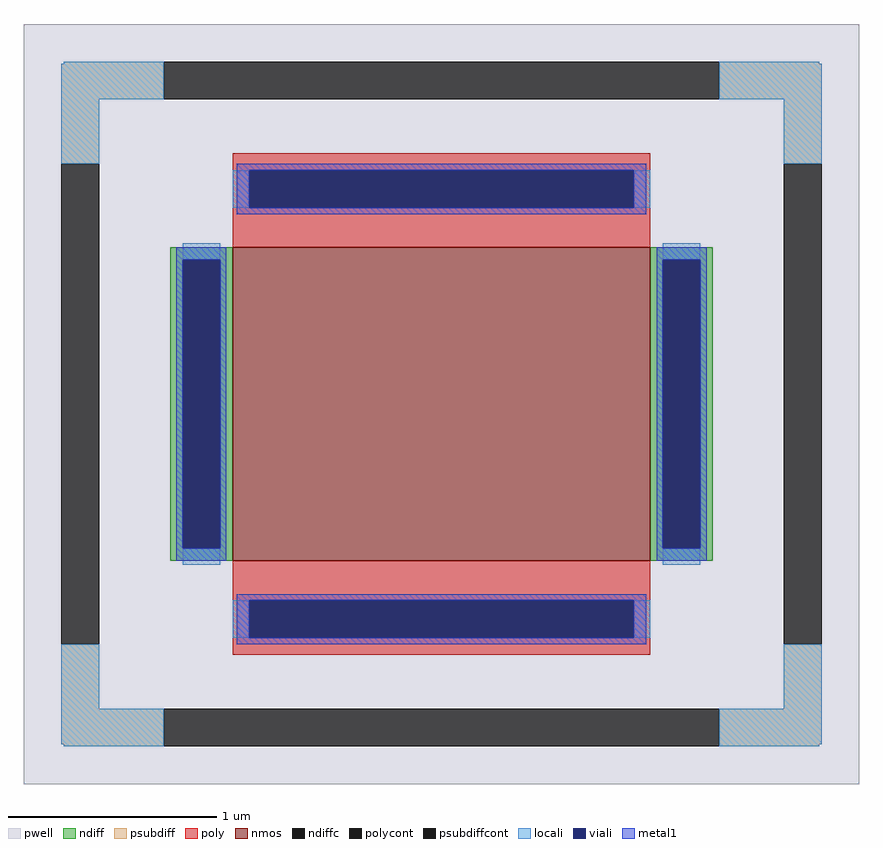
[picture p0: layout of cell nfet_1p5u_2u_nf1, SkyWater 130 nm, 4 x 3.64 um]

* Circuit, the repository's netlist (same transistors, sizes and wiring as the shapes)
* NGSPICE file created from nfet_1p5u_2u_nf1.ext - technology: sky130A

.subckt nfet_1p5u_2u_nf1
X0 a_100_n75# a_n100_n120# a_n130_n75# a_n182_n163# sky130_fd_pr__nfet_01v8 ad=0.45 pd=3.6 as=0.45 ps=3.6 w=1.5 l=2
.ends

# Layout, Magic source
magic
tech sky130A
<< pwell >>
rect -200 -182 200 182
<< nmos >>
rect -100 -75 100 75
<< ndiff >>
rect -130 69 -100 75
rect -130 -69 -124 69
rect -106 -69 -100 69
rect -130 -75 -100 -69
rect 100 69 130 75
rect 100 -69 106 69
rect 124 -69 130 69
rect 100 -75 130 -69
<< ndiffc >>
rect -124 -69 -106 69
rect 106 -69 124 69
<< psubdiff >>
rect -181 163 -133 164
rect -182 146 -133 163
rect 133 163 181 164
rect 133 146 182 163
rect -182 115 -164 146
rect 164 115 182 146
rect -182 -146 -164 -115
rect 164 -146 182 -115
rect -182 -163 -133 -146
rect -181 -164 -133 -163
rect 133 -163 182 -146
rect 133 -164 181 -163
<< psubdiffcont >>
rect -133 146 133 164
rect -182 -115 -164 115
rect 164 -115 182 115
rect -133 -164 133 -146
<< poly >>
rect -100 112 100 120
rect -100 94 -92 112
rect 92 94 100 112
rect -100 75 100 94
rect -100 -94 100 -75
rect -100 -112 -92 -94
rect 92 -112 100 -94
rect -100 -120 100 -112
<< polycont >>
rect -92 94 92 112
rect -92 -112 92 -94
<< locali >>
rect -181 163 -133 164
rect -182 146 -133 163
rect 133 163 181 164
rect 133 146 182 163
rect -182 115 -164 146
rect 164 115 182 146
rect -100 94 -92 112
rect 92 94 100 112
rect -124 69 -106 77
rect -124 -77 -106 -69
rect 106 69 124 77
rect 106 -77 124 -69
rect -100 -112 -92 -94
rect 92 -112 100 -94
rect -182 -146 -164 -115
rect 164 -146 182 -115
rect -182 -163 -133 -146
rect -181 -164 -133 -163
rect 133 -163 182 -146
rect 133 -164 181 -163
<< viali >>
rect -92 94 92 112
rect -124 -69 -106 69
rect 106 -69 124 69
rect -92 -112 92 -94
<< metal1 >>
rect -98 112 98 115
rect -98 94 -92 112
rect 92 94 98 112
rect -98 91 98 94
rect -127 69 -103 75
rect -127 -69 -124 69
rect -106 -69 -103 69
rect -127 -75 -103 -69
rect 103 69 127 75
rect 103 -69 106 69
rect 124 -69 127 69
rect 103 -75 127 -69
rect -98 -94 98 -91
rect -98 -112 -92 -94
rect 92 -112 98 -94
rect -98 -115 98 -112
<< properties >>
string FIXED_BBOX -173 -155 173 155
<< end >>
